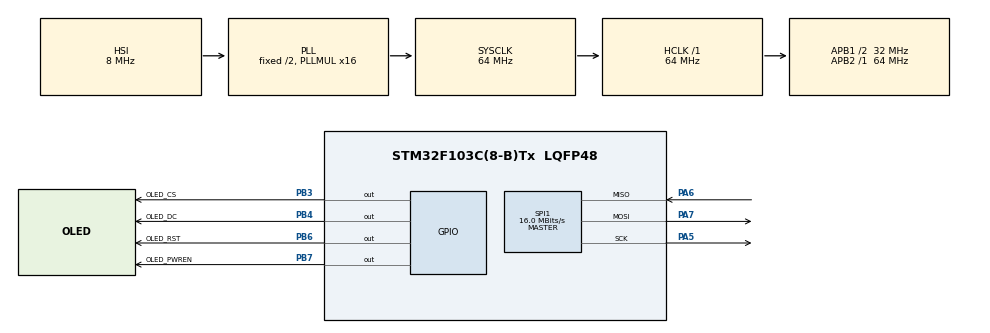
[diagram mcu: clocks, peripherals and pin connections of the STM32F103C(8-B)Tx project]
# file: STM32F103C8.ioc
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Mcu.Family=STM32F1
Mcu.Name=STM32F103C(8-B)Tx
Mcu.Package=LQFP48
NVIC.PriorityGroup=NVIC_PRIORITYGROUP_4
PA13.Mode=Serial_Wire
PA13.Signal=SYS_JTMS-SWDIO
PA14.Mode=Serial_Wire
PA14.Signal=SYS_JTCK-SWCLK
PA5.Mode=Full_Duplex_Master
PA5.Signal=SPI1_SCK
PA6.Mode=Full_Duplex_Master
PA6.Signal=SPI1_MISO
PA7.Mode=Full_Duplex_Master
PA7.Signal=SPI1_MOSI
PB3.GPIO_Label=OLED_CS
PB3.GPIO_Speed=GPIO_SPEED_FREQ_HIGH
PB3.PinState=GPIO_PIN_RESET
PB3.Signal=GPIO_Output
PB4.GPIO_Label=OLED_DC
PB4.GPIO_Speed=GPIO_SPEED_FREQ_HIGH
PB4.PinState=GPIO_PIN_RESET
PB4.Signal=GPIO_Output
PB6.GPIO_Label=OLED_RST
PB6.PinState=GPIO_PIN_SET
PB6.Signal=GPIO_Output
PB7.GPIO_Label=OLED_PWREN
PB7.PinState=GPIO_PIN_SET
PB7.Signal=GPIO_Output
ProjectManager.HeapSize=0x400
ProjectManager.StackSize=0x400
ProjectManager.TargetToolchain=Makefile
RCC.AHBFreq_Value=64000000
RCC.APB1CLKDivider=RCC_HCLK_DIV2
RCC.APB1Freq_Value=32000000
RCC.APB1TimFreq_Value=64000000
RCC.APB2Freq_Value=64000000
RCC.APB2TimFreq_Value=64000000
RCC.HCLKFreq_Value=64000000
RCC.PLLMUL=RCC_PLL_MUL16
RCC.SYSCLKFreq_VALUE=64000000
RCC.SYSCLKSource=RCC_SYSCLKSOURCE_PLLCLK
RCC.USBFreq_Value=64000000
SPI1.BaudRatePrescaler=SPI_BAUDRATEPRESCALER_4
SPI1.CalculateBaudRate=16.0 MBits/s
SPI1.Direction=SPI_DIRECTION_2LINES
SPI1.Mode=SPI_MODE_MASTER
SPI1.VirtualType=VM_MASTER
board=custom

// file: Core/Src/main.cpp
/* USER CODE BEGIN Header */
/**
  ******************************************************************************
  * @file           : main.c
  * @brief          : Main program body
  ******************************************************************************
  * @attention
  *
  * Copyright (c) 2023 STMicroelectronics.
  * All rights reserved.
  *
  * This software is licensed under terms that can be found in the LICENSE file
  * in the root directory of this software component.
  * If no LICENSE file comes with this software, it is provided AS-IS.
  *
  ******************************************************************************
  */
/* USER CODE END Header */
#include "main.h"
#include "spi.h"
#include "gpio.h"

/* USER CODE BEGIN Includes */
#include <stdio.h>
#include "U8g2lib.h"
#include "page.h"
#include "HAL.h"
#include "Juan_EventButton.h"
/* USER CODE END Includes */

/* USER CODE BEGIN PV */
page_manager_t page_manager;
U8G2_UC1701_MINI12864_f_4W_HW_SPI_STM32 u8g2(U8G2_R0);

Juan_EventButton_t key1;
Juan_EventButton_t key2;
Juan_EventButton_t key3;
Juan_EventButton_t key4;
/* USER CODE END PV */

void SystemClock_Config(void);

/* USER CODE BEGIN 0 */
static int pressed_key = -1;
void key_event_handler(void * btn,ButtonEvent_t event){
  if(btn == &key1 && event == BUTTON_EVENT_PRESSED){
    pressed_key = 1;
  }else if(btn == &key2 && event == BUTTON_EVENT_PRESSED){
    pressed_key = 2;
  }else if(btn == &key3 && event == BUTTON_EVENT_PRESSED){
    pressed_key = 3;
  }else if(btn == &key4 && event == BUTTON_EVENT_PRESSED){
    pressed_key = 4;
  }
}
int get_key(){
  int key;
  Juan_EventMonitor(&key1,HAL_GPIO_ReadPin(KEY2_Port,KEY2_Pin));
  Juan_EventMonitor(&key2,HAL_GPIO_ReadPin(KEY1_Port,KEY1_Pin));
  Juan_EventMonitor(&key3,HAL_GPIO_ReadPin(KEY0_Port,KEY0_Pin));
  Juan_EventMonitor(&key4,HAL_GPIO_ReadPin(KEY_WKUP_Port,KEY_WKUP_Pin));
  if(pressed_key > 0){
    key = pressed_key;
    pressed_key = -1;
    return key;
  }
    return -1;
}

/* USER CODE END 0 */

int main(void)
{

  /* MCU Configuration--------------------------------------------------------*/

  /* Reset of all peripherals, Initializes the Flash interface and the Systick. */
  HAL_Init();

  /* Configure the system clock */
  SystemClock_Config();

  /* Initialize all configured peripherals */
  MX_GPIO_Init();
  MX_SPI1_Init();

  /* Infinite loop */
  /* USER CODE BEGIN WHILE */
  setvbuf(stdout, NULL, _IONBF, 0);
  u8g2.begin();

  PAGE_INIT(PAGE_ID_MAIN);
  PAGE_INIT(PAGE_ID_MENU);
  PAGE_INIT(PAGE_ID_CLOCK);
  PAGE_INIT(PAGE_ID_TOOLBOX);
  PAGE_INIT(PAGE_ID_GAME);
  page_switch(&page_manager,PAGE_ID_MAIN);

  Juan_EventButtonInitStatic(&key1,1,500,3000,3000);
  Juan_EventButtonInitStatic(&key2,1,500,3000,3000);
  Juan_EventButtonInitStatic(&key3,1,500,3000,3000);
  Juan_EventButtonInitStatic(&key4,0,500,3000,3000);
  Juan_AddEventHandler(&key1,key_event_handler);
  Juan_AddEventHandler(&key2,key_event_handler);
  Juan_AddEventHandler(&key3,key_event_handler);
  Juan_AddEventHandler(&key4,key_event_handler);
  while (1)
  {
    /* USER CODE END WHILE */

    /* USER CODE BEGIN 3 */
    page_manager_loop(&page_manager);
    int key = get_key();
    if(key > 0 ){
      page_key_event_send(&page_manager,key,0);
    }
    HAL_Delay(1);
  }
  /* USER CODE END 3 */
}

void SystemClock_Config(void)
{
  RCC_OscInitTypeDef RCC_OscInitStruct = {0};
  RCC_ClkInitTypeDef RCC_ClkInitStruct = {0};

  /** Initializes the RCC Oscillators according to the specified parameters
  * in the RCC_OscInitTypeDef structure.
  */
  RCC_OscInitStruct.OscillatorType = RCC_OSCILLATORTYPE_HSI;
  RCC_OscInitStruct.HSIState = RCC_HSI_ON;
  RCC_OscInitStruct.HSICalibrationValue = RCC_HSICALIBRATION_DEFAULT;
  RCC_OscInitStruct.PLL.PLLState = RCC_PLL_ON;
  RCC_OscInitStruct.PLL.PLLSource = RCC_PLLSOURCE_HSI_DIV2;
  RCC_OscInitStruct.PLL.PLLMUL = RCC_PLL_MUL16;
  if (HAL_RCC_OscConfig(&RCC_OscInitStruct) != HAL_OK)
  {
    Error_Handler();
  }

  /** Initializes the CPU, AHB and APB buses clocks
  */
  RCC_ClkInitStruct.ClockType = RCC_CLOCKTYPE_HCLK|RCC_CLOCKTYPE_SYSCLK
                              |RCC_CLOCKTYPE_PCLK1|RCC_CLOCKTYPE_PCLK2;
  RCC_ClkInitStruct.SYSCLKSource = RCC_SYSCLKSOURCE_PLLCLK;
  RCC_ClkInitStruct.AHBCLKDivider = RCC_SYSCLK_DIV1;
  RCC_ClkInitStruct.APB1CLKDivider = RCC_HCLK_DIV2;
  RCC_ClkInitStruct.APB2CLKDivider = RCC_HCLK_DIV1;

  if (HAL_RCC_ClockConfig(&RCC_ClkInitStruct, FLASH_LATENCY_2) != HAL_OK)
  {
    Error_Handler();
  }
}

void Error_Handler(void)
{
  __disable_irq();
  while (1)
  {
  }
}
